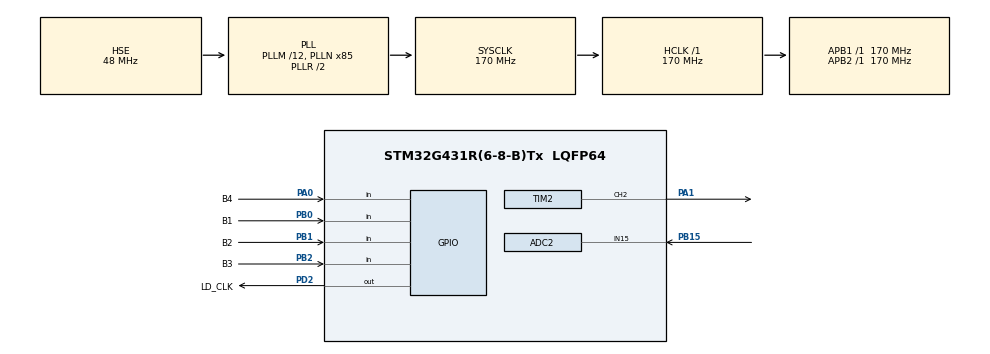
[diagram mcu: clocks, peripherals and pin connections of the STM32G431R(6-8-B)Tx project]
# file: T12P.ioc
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ADC2.Channel-1\#ChannelRegularConversion=ADC_CHANNEL_15
ADC2.DMAContinuousRequests=ENABLE
ADC2.NbrOfConversion=1
ADC2.NbrOfConversionFlag=1
ADC2.OffsetNumber-1\#ChannelRegularConversion=ADC_OFFSET_NONE
ADC2.Rank-1\#ChannelRegularConversion=1
ADC2.SamplingTime-1\#ChannelRegularConversion=ADC_SAMPLETIME_2CYCLES_5
Dma.ADC2.0.Direction=DMA_PERIPH_TO_MEMORY
Dma.ADC2.0.EventEnable=DISABLE
Dma.ADC2.0.Instance=DMA1_Channel1
Dma.ADC2.0.MemDataAlignment=DMA_MDATAALIGN_WORD
Dma.ADC2.0.MemInc=DMA_MINC_ENABLE
Dma.ADC2.0.Mode=DMA_CIRCULAR
Dma.ADC2.0.PeriphDataAlignment=DMA_PDATAALIGN_WORD
Dma.ADC2.0.PeriphInc=DMA_PINC_DISABLE
Dma.ADC2.0.Polarity=HAL_DMAMUX_REQ_GEN_RISING
Dma.ADC2.0.Priority=DMA_PRIORITY_LOW
Dma.ADC2.0.RequestNumber=1
Dma.ADC2.0.SignalID=NONE
Dma.ADC2.0.SyncEnable=DISABLE
Dma.ADC2.0.SyncPolarity=HAL_DMAMUX_SYNC_NO_EVENT
Dma.ADC2.0.SyncRequestNumber=1
Dma.ADC2.0.SyncSignalID=NONE
Dma.Request0=ADC2
Mcu.Family=STM32G4
Mcu.Name=STM32G431R(6-8-B)Tx
Mcu.Package=LQFP64
NVIC.DMA1_Channel1_IRQn=true\:15\:0\:true\:false\:true\:false\:true
NVIC.PriorityGroup=NVIC_PRIORITYGROUP_4
NVIC.TIM4_IRQn=true\:0\:0\:false\:false\:true\:true\:true
PA0.GPIO_Label=B4
PA0.Signal=GPIO_Input
PA1.Signal=S_TIM2_CH2
PB0.GPIO_Label=B1
PB0.Signal=GPIO_Input
PB1.GPIO_Label=B2
PB1.Signal=GPIO_Input
PB15.Mode=IN15-Single-Ended
PB15.Signal=ADC2_IN15
PB2.GPIO_Label=B3
PB2.Signal=GPIO_Input
PD2.GPIO_Label=LD_CLK
PD2.Signal=GPIO_Output
PF0-OSC_IN.Mode=HSE-External-Oscillator
PF0-OSC_IN.Signal=RCC_OSC_IN
PF1-OSC_OUT.Mode=HSE-External-Oscillator
PF1-OSC_OUT.Signal=RCC_OSC_OUT
ProjectManager.HeapSize=0x200
ProjectManager.StackSize=0x400
ProjectManager.TargetToolchain=MDK-ARM V5.27
RCC.ADC12Freq_Value=170000000
RCC.AHBFreq_Value=170000000
RCC.APB1Freq_Value=170000000
RCC.APB1TimFreq_Value=170000000
RCC.APB2Freq_Value=170000000
RCC.APB2TimFreq_Value=170000000
RCC.CortexFreq_Value=170000000
RCC.EXTERNAL_CLOCK_VALUE=12288000
RCC.HCLKFreq_Value=170000000
RCC.HSE_VALUE=48000000
RCC.HSI48_VALUE=48000000
RCC.HSI_VALUE=16000000
RCC.LSE_VALUE=32768
RCC.PLLM=RCC_PLLM_DIV12
RCC.PLLN=85
RCC.PLLSourceVirtual=RCC_PLLSOURCE_HSE
RCC.SYSCLKFreq_VALUE=170000000
RCC.SYSCLKSource=RCC_SYSCLKSOURCE_PLLCLK
RCC.USBFreq_Value=170000000
RCC.VCOOutputFreq_Value=340000000
SH.S_TIM2_CH2.0=TIM2_CH2,PWM Generation2 CH2
TIM2.Channel-PWM\ Generation2\ CH2=TIM_CHANNEL_2
TIM2.PeriodNoDither=1000-1
TIM2.Prescaler=170-1
TIM2.PulseNoDither_2=500
TIM4.PeriodNoDither=1000-1
TIM4.Prescaler=170-1
VP_SYS_VS_DBSignals.Mode=DisableDeadBatterySignals
VP_TIM2_VS_ClockSourceINT.Mode=Internal
VP_TIM4_VS_ClockSourceINT.Mode=Internal
board=custom

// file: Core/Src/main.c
/* USER CODE BEGIN Header */
/**
  ******************************************************************************
  * @file           : main.c
  * @brief          : Main program body
  ******************************************************************************
  * @attention
  *
  * <h2><center>&copy; Copyright (c) 2021 STMicroelectronics.
  * All rights reserved.</center></h2>
  *
  * This software component is licensed by ST under BSD 3-Clause license,
  * the "License"; You may not use this file except in compliance with the
  * License. You may obtain a copy of the License at:
  *                        opensource.org/licenses/BSD-3-Clause
  *
  ******************************************************************************
  */
/* USER CODE END Header */
#include "main.h"
#include "adc.h"
#include "dma.h"
#include "tim.h"
#include "gpio.h"

/* USER CODE BEGIN Includes */
#include "stdio.h"
#include "stdlib.h"
#include "ctype.h"
#include "string.h"
#include "lcd.h"
#include "i2c.h"
/* USER CODE END Includes */

/* USER CODE BEGIN PD */
#define DATAVIEW 0
#define PARAVIEW 1
/* USER CODE END PD */

/* USER CODE BEGIN PM */
#define KB1 HAL_GPIO_ReadPin(B1_GPIO_Port, B1_Pin)
#define KB2 HAL_GPIO_ReadPin(B2_GPIO_Port, B2_Pin)
#define KB3 HAL_GPIO_ReadPin(B3_GPIO_Port, B3_Pin)
#define KB4 HAL_GPIO_ReadPin(B4_GPIO_Port, B4_Pin)
/* USER CODE END PM */

/* USER CODE BEGIN PV */
_Bool Key_Flag = 0;//按键标志位
_Bool Adc_Flag = 0, Adc_Con_Flag = 0;//ADC标志位
float Vmax_tmp, Vmin_tmp;
uint16_t Led_Val;//存储LED的值
uint8_t View_Model;
uint32_t ADC_buf[10];
float Adc_Val;
float V_Val;
uint8_t A_Val;

float Vmax_Val = 3.0f;
float Vmin_Val = 1.0f;
/* USER CODE END PV */

void SystemClock_Config(void);

/* USER CODE BEGIN 0 */
//操作LED
void TurnOff_LEDS()
{
	Led_Val = 0xFF00;
	HAL_GPIO_WritePin(LD_CLK_GPIO_Port, LD_CLK_Pin, GPIO_PIN_SET);
	GPIOC->ODR = Led_Val;
	HAL_GPIO_WritePin(LD_CLK_GPIO_Port, LD_CLK_Pin, GPIO_PIN_RESET);
}
void TurnOn_LED(uint8_t i)
{
	Led_Val &= ~(0x01<<(i+7));
	HAL_GPIO_WritePin(LD_CLK_GPIO_Port, LD_CLK_Pin, GPIO_PIN_SET);
	GPIOC->ODR = Led_Val;
	HAL_GPIO_WritePin(LD_CLK_GPIO_Port, LD_CLK_Pin, GPIO_PIN_RESET);
}
void TurnOff_LED(uint8_t i)
{
	Led_Val |= (0x01<<(i+7));
	HAL_GPIO_WritePin(LD_CLK_GPIO_Port, LD_CLK_Pin, GPIO_PIN_SET);
	GPIOC->ODR = Led_Val;
	HAL_GPIO_WritePin(LD_CLK_GPIO_Port, LD_CLK_Pin, GPIO_PIN_RESET);
}
void getADC()
{
	uint8_t i, j;
	Adc_Val = 0;
	float temp;
	for(i = 0; i < 10 - 1; i++)
	{
		for(j = 0; j < 10 - 1 - i; j++)
		{
			if (ADC_buf[j] < ADC_buf[j+1])
			{
					temp = ADC_buf[j];
					ADC_buf[j] = ADC_buf[j+1];
					ADC_buf[j+1] = temp;
			}
		}
	}
	for(i = 1; i < 10-1; i++)
    	Adc_Val += ADC_buf[i];
	V_Val = (Adc_Val / 8) / 4096 * 3.3f;
}
void Display()
{
	uint8_t buf[30];
	LCD_DisplayStringLine(Line1, (uint8_t *)"      Data");
	sprintf((char *)buf, " V:%.2fV", V_Val);
	LCD_DisplayStringLine(Line4, buf);
	memset(buf, 0, sizeof(buf));
	sprintf((char *)buf, " A:%d ", A_Val);
	LCD_DisplayStringLine(Line5, buf);
}
void Setting()
{
	uint8_t buf[30];
	LCD_DisplayStringLine(Line1, (uint8_t *)"      Para");
	sprintf((char *)buf, " Vmax:%.1fV", Vmax_Val);
	LCD_DisplayStringLine(Line4, buf);
	memset(buf, 0, sizeof(buf));
	sprintf((char *)buf, " Vmin:%.1fV", Vmin_Val);
	LCD_DisplayStringLine(Line5, buf);
}
void Display_Proc()
{
	switch(View_Model)
	{
		case DATAVIEW:
			Display();
			break;
		case PARAVIEW:
			Setting();
			break;
	}
}
float Vmax_Prev, Vmin_Prev;//用于储存先前设置的
void Key_Proc()
{
	//按键1 用于按键切换
	static uint8_t b1_sum;
	if(KB1 == 0)
	{
		b1_sum++;
		if(b1_sum == 1)
		{
			switch(View_Model)
			{
				case DATAVIEW:
					{
						Vmax_Prev = Vmax_Val;
						Vmin_Prev = Vmin_Val;
						LCD_Clear(Black);
						View_Model = PARAVIEW;
					}
					break;
				case PARAVIEW:
					{
						if(Vmax_Val <= (Vmin_Val + 0.5f))
						{
							Vmax_Val = Vmax_Prev;
							Vmin_Val = Vmin_Prev;
						}else{
							Vmax_Val = Vmax_Val;
							Vmin_Val = Vmin_Val;
						}
						LCD_Clear(Black);
						View_Model = DATAVIEW;
					}
					break;
			}
		}
	}
	else if(KB1 == 1)
	{
		b1_sum = 0;
	}

	//按键2 用于Vmax减
	static uint8_t b2_sum;
	if(KB2 == 0)
	{
		b2_sum++;
		if(b2_sum == 1)
		{
			if(View_Model == PARAVIEW){
				Vmax_Val-=0.1f;
				if(Vmax_Val < 0.0f)
				{
					Vmax_Val = 3.3f;
				}
			}
		}
	}
	else if(KB2 == 1)
	{
		b2_sum = 0;
	}

	//按键3 用于Vmin加
	static uint8_t b3_sum;
	if(KB3 == 0)
	{
		b3_sum++;
		if(b3_sum == 1)
		{
			if(View_Model == PARAVIEW){
				Vmin_Val+=0.1f;
				if(Vmin_Val > 3.3f)
				{
					Vmin_Val = 0.0f;
				}
			}
		}
	}
	else if(KB3 == 1)
	{
		b3_sum = 0;
	}
}

void Uart_Proc()
{
}
/* USER CODE END 0 */

int main(void)
{

  /* MCU Configuration--------------------------------------------------------*/

  /* Reset of all peripherals, Initializes the Flash interface and the Systick. */
  HAL_Init();

  /* Configure the system clock */
  SystemClock_Config();

  /* Initialize all configured peripherals */
  MX_GPIO_Init();
  MX_DMA_Init();
  MX_TIM4_Init();
  MX_ADC2_Init();
  MX_TIM2_Init();
  /* USER CODE BEGIN 2 */
	//启动定时器
	HAL_TIM_Base_Start_IT(&htim4);
	//启动定时器输出PWM波
	HAL_TIM_PWM_Start(&htim2, TIM_CHANNEL_2);
	//启动ADC转换DMA方式
	HAL_ADCEx_Calibration_Start(&hadc2, ADC_SINGLE_ENDED);
	HAL_ADC_Start_DMA(&hadc2, (uint32_t *)&ADC_buf,10);
	//初始化LCD
	LCD_Init();
	LCD_Clear(Black);
	LCD_SetBackColor(Black);
	LCD_SetTextColor(White);

	TurnOff_LEDS();

  /* USER CODE END 2 */

  /* Infinite loop */
  /* USER CODE BEGIN WHILE */
  while (1)
  {
		Display_Proc();
    /* USER CODE END WHILE */

    /* USER CODE BEGIN 3 */
		if(Adc_Flag)
		{
			HAL_ADC_Start_DMA(&hadc2, (uint32_t *)&ADC_buf,10);
			Adc_Flag = 0;
		}
		if(Adc_Con_Flag)
		{
			Adc_Con_Flag = 0;
			getADC();
		}

		if(Key_Flag)
		{
			Key_Flag = 0;
			Key_Proc();
		}

		if(V_Val > Vmax_Val)
		{//电压状态1
			TurnOn_LED(1);
			TurnOff_LED(2);
			TurnOff_LED(3);
			A_Val = 1;
			//50% 100Hz
			__HAL_TIM_SET_COUNTER(&htim2,0);
			__HAL_TIM_SET_COMPARE(&htim2, TIM_CHANNEL_2, 5000);
			__HAL_TIM_SET_AUTORELOAD(&htim2, 10000);
		}
		if(V_Val < Vmin_Val)
		{//电压状态2 1KHz
			TurnOff_LED(1);
			TurnOn_LED(2);
			TurnOff_LED(3);
			A_Val = 2;

			//80%
			__HAL_TIM_SET_COUNTER(&htim2,0);
			__HAL_TIM_SET_COMPARE(&htim2, TIM_CHANNEL_2, 800);
			__HAL_TIM_SET_AUTORELOAD(&htim2, 1000);
		}
		if(V_Val >= Vmin_Val && V_Val < Vmax_Val)
		{//电压状态3 10KHZ
			TurnOff_LED(1);
			TurnOff_LED(2);
			TurnOn_LED(3);
			A_Val = 3;

			//20%
			__HAL_TIM_SET_COUNTER(&htim2,0);
			__HAL_TIM_SET_COMPARE(&htim2, TIM_CHANNEL_2, 20);
			__HAL_TIM_SET_AUTORELOAD(&htim2, 100);
		}

  }
  /* USER CODE END 3 */
}

void SystemClock_Config(void)
{
  RCC_OscInitTypeDef RCC_OscInitStruct = {0};
  RCC_ClkInitTypeDef RCC_ClkInitStruct = {0};
  RCC_PeriphCLKInitTypeDef PeriphClkInit = {0};

  /** Configure the main internal regulator output voltage
  */
  HAL_PWREx_ControlVoltageScaling(PWR_REGULATOR_VOLTAGE_SCALE1_BOOST);
  /** Initializes the RCC Oscillators according to the specified parameters
  * in the RCC_OscInitTypeDef structure.
  */
  RCC_OscInitStruct.OscillatorType = RCC_OSCILLATORTYPE_HSE;
  RCC_OscInitStruct.HSEState = RCC_HSE_ON;
  RCC_OscInitStruct.PLL.PLLState = RCC_PLL_ON;
  RCC_OscInitStruct.PLL.PLLSource = RCC_PLLSOURCE_HSE;
  RCC_OscInitStruct.PLL.PLLM = RCC_PLLM_DIV12;
  RCC_OscInitStruct.PLL.PLLN = 85;
  RCC_OscInitStruct.PLL.PLLP = RCC_PLLP_DIV2;
  RCC_OscInitStruct.PLL.PLLQ = RCC_PLLQ_DIV2;
  RCC_OscInitStruct.PLL.PLLR = RCC_PLLR_DIV2;
  if (HAL_RCC_OscConfig(&RCC_OscInitStruct) != HAL_OK)
  {
    Error_Handler();
  }
  /** Initializes the CPU, AHB and APB buses clocks
  */
  RCC_ClkInitStruct.ClockType = RCC_CLOCKTYPE_HCLK|RCC_CLOCKTYPE_SYSCLK
                              |RCC_CLOCKTYPE_PCLK1|RCC_CLOCKTYPE_PCLK2;
  RCC_ClkInitStruct.SYSCLKSource = RCC_SYSCLKSOURCE_PLLCLK;
  RCC_ClkInitStruct.AHBCLKDivider = RCC_SYSCLK_DIV1;
  RCC_ClkInitStruct.APB1CLKDivider = RCC_HCLK_DIV1;
  RCC_ClkInitStruct.APB2CLKDivider = RCC_HCLK_DIV1;

  if (HAL_RCC_ClockConfig(&RCC_ClkInitStruct, FLASH_LATENCY_4) != HAL_OK)
  {
    Error_Handler();
  }
  /** Initializes the peripherals clocks
  */
  PeriphClkInit.PeriphClockSelection = RCC_PERIPHCLK_ADC12;
  PeriphClkInit.Adc12ClockSelection = RCC_ADC12CLKSOURCE_SYSCLK;
  if (HAL_RCCEx_PeriphCLKConfig(&PeriphClkInit) != HAL_OK)
  {
    Error_Handler();
  }
}

/* USER CODE BEGIN 4 */
void HAL_TIM_PeriodElapsedCallback(TIM_HandleTypeDef *htim)
{
	HAL_TIM_Base_Start_IT(&htim4);
	static uint8_t key_count;
	static uint8_t adc_count;
	if(htim->Instance == TIM4)
	{
		if(++key_count == 10)
		{
			key_count = 0;
			Key_Flag = 1;
		}
		if(++adc_count == 100)
		{
			adc_count = 0;
			Adc_Flag = 1;
		}
	}

}

void HAL_ADC_ConvCpltCallback(ADC_HandleTypeDef* hadc)
{
  if(hadc == &hadc2)
  {
		Adc_Con_Flag = 1;
  }
}
/* USER CODE END 4 */

void Error_Handler(void)
{
  __disable_irq();
  while (1)
  {
  }
}

/************************ (C) COPYRIGHT STMicroelectronics *****END OF FILE****/
